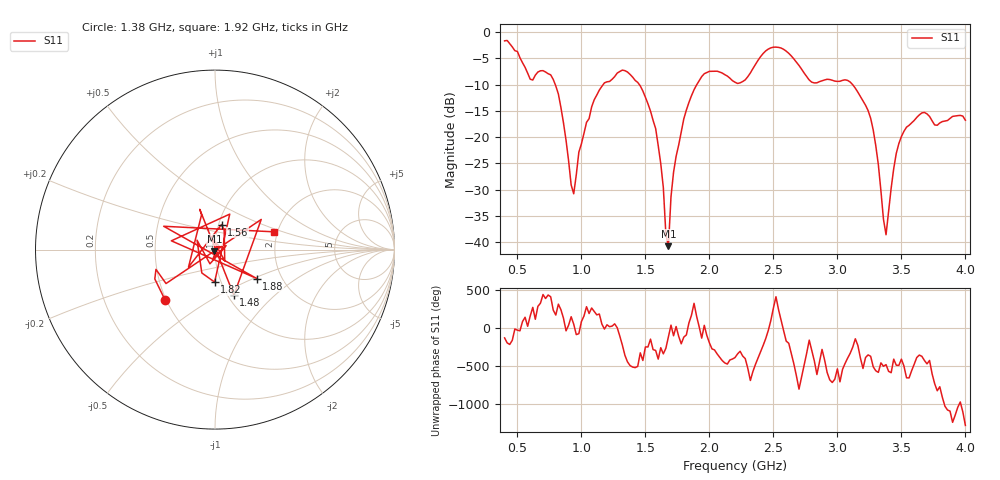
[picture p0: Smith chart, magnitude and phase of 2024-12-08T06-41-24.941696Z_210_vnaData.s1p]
!Created with skrf (http://scikit-rf.org).
# Hz S RI R 50.0
!freq ReS11 ImS11
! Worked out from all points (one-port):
!   181 points, 400 MHz to 4 GHz, reference 50 ohm
!   lowest |S11| = -40.7 dB at 1.68 GHz (marker M1), VSWR 1.02, Z = 49.6 - j0.834 ohm
!   |S11| at or under -10 dB: 795.9 MHz to 1.17 GHz (373.8 MHz wide, 38 % of centre); 1.453 GHz to 1.901 GHz (448.6 MHz wide, 26.7 % of centre); 3.119 GHz to end of sweep
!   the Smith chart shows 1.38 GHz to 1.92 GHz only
!   S11 on the Smith chart (normalised r, x): 1.38 GHz: 0.49, -0.33; 1.48 GHz: 1.07, -0.59; 1.56 GHz: 1.03, +0.29; 1.82 GHz: 0.93, -0.35; 1.88 GHz: 1.50, -0.52; 1.92 GHz: 1.92, +0.43
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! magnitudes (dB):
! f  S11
! 400 MHz  -1.7
! 600 MHz  -9.0
! 760 MHz  -8.1
! 860 MHz  -17.3
! 940 MHz  -30.8
! 980 MHz  -22.8
! 1.1 GHz  -12.9
! 1.3 GHz  -7.5
! 1.38 GHz  -8.0
! 1.48 GHz  -11.2
! 1.56 GHz  -16.8
! 1.62 GHz  -25.0
! 1.68 GHz  -40.7
! 1.7 GHz  -31.3
! 1.76 GHz  -21.5
! 1.82 GHz  -14.8
! 1.88 GHz  -11.0
! 1.92 GHz  -9.2
! 2.2 GHz  -9.5
! 2.48 GHz  -3.0
! 2.66 GHz  -5.1
! 2.8 GHz  -9.5
! 3.1 GHz  -9.5
! 3.26 GHz  -16.4
! 3.38 GHz  -38.6
! 3.46 GHz  -23.1
! 3.56 GHz  -17.7
! 4 GHz  -16.8
